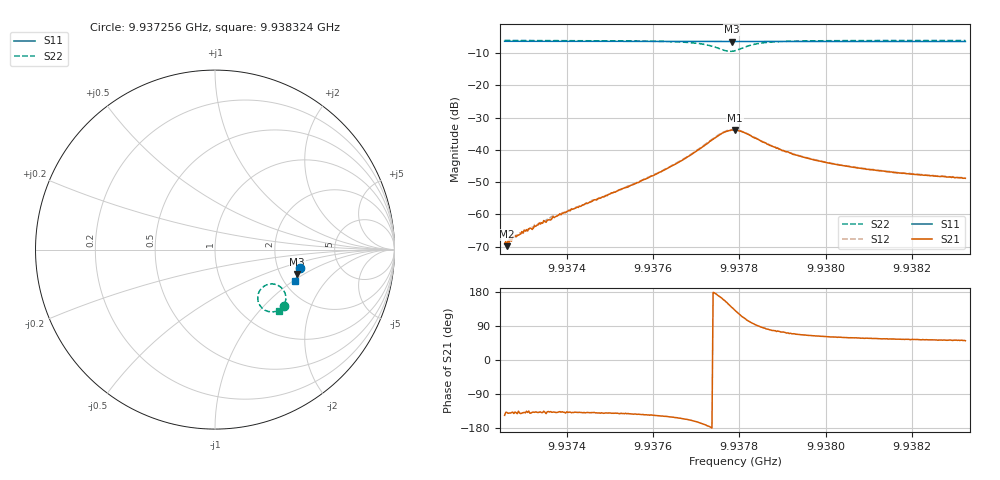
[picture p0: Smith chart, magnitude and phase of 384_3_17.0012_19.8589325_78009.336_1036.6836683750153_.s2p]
#  HZ  S  RI  R  50.00
! Rohde & Schwarz Vector Network Analyzer
! Rohde-Schwarz,ZNB20-2Port,1311601062101988,3.16
! Created: UTC 3/20/2024, 11:09:16 PM
! freq[Hz]  re:S11  im:S11  re:S21  im:S21  re:S12  im:S12  re:S22  im:S22
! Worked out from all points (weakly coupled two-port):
!   401 points, 9.937256 GHz to 9.938324 GHz, reference 50 ohm
!   highest |S21| = -33.79 dB at 9.93779 GHz (marker M1); lowest = -69.8 dB at 9.937261 GHz (marker M2)
!   lowest |S11| = -6.4 dB at 9.937782 GHz (marker M3), VSWR 2.84, Z = 123 - j44.4 ohm
!   |S11| at or under -10 dB: nowhere
!   |S22| runs from -9.4 to -6.1 dB; largest |S21 - S12| = 0.00078
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9.937256e9  0.4721 -0.1052  -0.000291 -0.000196  -0.000259 -0.000217  0.3869 -0.3139
9.9372614e9  0.4719 -0.1056  -0.00024 -0.000215  -0.000282 -0.000216  0.3866 -0.3144
9.9372667e9  0.4718 -0.1061  -0.000284 -0.000239  -0.000314 -0.00027  0.3861 -0.3146
9.9372801e9  0.4716 -0.1069  -0.000343 -0.000317  -0.000354 -0.000287  0.3851 -0.3155
9.9373308e9  0.4706 -0.1105  -0.000505 -0.000456  -0.000528 -0.000463  0.3812 -0.319
9.9373682e9  0.4698 -0.1129  -0.000683 -0.000625  -0.000708 -0.000639  0.3781 -0.3217
9.9373815e9  0.4696 -0.1138  -0.000721 -0.000669  -0.000715 -0.000665  0.377 -0.3228
9.9374349e9  0.4683 -0.1174  -0.00103 -0.000903  -0.00104 -0.00092  0.3718 -0.3271
9.9375631e9  0.4656 -0.1259  -0.0025 -0.00185  -0.00253 -0.00183  0.353 -0.3388
9.9376138e9  0.4642 -0.1294  -0.00373 -0.00241  -0.00384 -0.00239  0.3399 -0.3442
9.9376726e9  0.4626 -0.1333  -0.00661 -0.00299  -0.00678 -0.00295  0.3136 -0.3472
9.9377207e9  0.4608 -0.1364  -0.0118 -0.00192  -0.012 -0.00174  0.272 -0.3338
9.937758e9  0.4593 -0.1383  -0.0171 0.0047  -0.0174 0.00534  0.2382 -0.2743
9.9377821e9  0.4586 -0.1387  -0.0155 0.0133  -0.0153 0.0138  0.2626 -0.2124
9.9377901e9  0.4586 -0.1389  -0.0134 0.0154  -0.0132 0.0159  0.2825 -0.1987
9.9378088e9  0.4589 -0.1398  -0.00728 0.0174  -0.00695 0.0178  0.3322 -0.193
9.9378488e9  0.4589 -0.1427  0.000607 0.014  0.000951 0.0139  0.386 -0.2341
9.9379022e9  0.4581 -0.1465  0.00274 0.00942  0.003 0.00926  0.3944 -0.276
9.937969e9  0.4564 -0.1513  0.0031 0.00639  0.00326 0.00644  0.3885 -0.3013
9.9380357e9  0.4547 -0.1556  0.00289 0.00501  0.00301 0.005  0.3818 -0.3152
9.9381479e9  0.4516 -0.1629  0.00258 0.00376  0.00269 0.00379  0.3718 -0.3295
9.9383241e9  0.4468 -0.1742  0.00229 0.00282  0.00237 0.00284  0.3589 -0.3439
